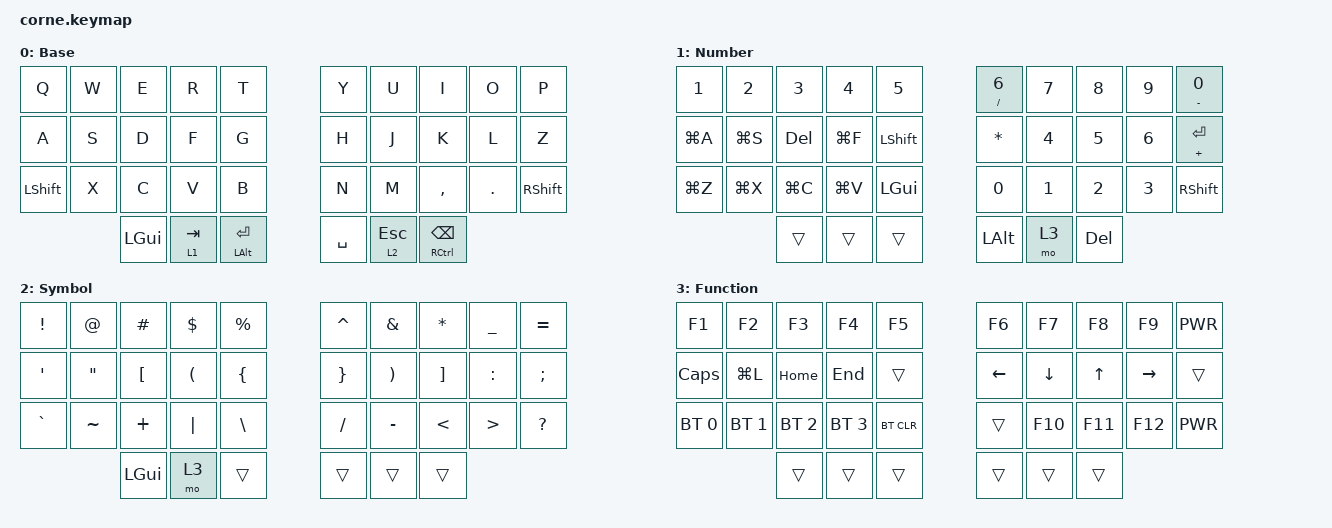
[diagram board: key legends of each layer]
/*
 * Copyright (c) 2020 The ZMK Contributors
 *
 * SPDX-License-Identifier: MIT
 */

#include <behaviors.dtsi>
#include <dt-bindings/zmk/keys.h>
#include <dt-bindings/zmk/bt.h>


/* #define AS(keycode) &as LS(keycode) keycode */

&lt {
    tapping-term-ms = <150>;
};

&mt {
    tapping-term-ms= <200>;
};

/ {
    chosen {
        zmk,physical-layout = &foostan_corne_5col_layout;
    };

    /* behaviors { */
    /*     as: auto_shift { */
    /*         compatible = "zmk,behavior-hold-tap"; */
    /*         #binding-cells = <2>; */
    /*         tapping_term_ms = <200>; */
    /*         quick_tap_ms = <0>; */
    /*         flavor = "tap-preferred"; */
    /*         bindings = <&kp>, <&kp>; */
    /*     }; */
    /* }; */
        keymap {
                compatible = "zmk,keymap";

                default_layer {
// -----------------------------------------------------------------------------------------
// |  Q  |  W  |  E  |  R  |  T  |     |  Y  |  U   |  I   |  O   | P |
// |  A  |  S  |  D  |  F  |  G  |     |  H  |  J   |  K   |  L   | ' |
// |  Z  |  X  |  C  |  V  |  B  |     |  N  |  M   | CTRL | META | . |
//             | GUI | LWR | SPC |     | ENT | RSE  | BSPC |
                        display-name = "Base";
                        bindings = <
   &kp Q      &kp W   &kp E     &kp R     &kp T           &kp Y       &kp U     &kp I       &kp O       &kp P
   &kp A      &kp S   &kp D     &kp F     &kp G           &kp H       &kp J     &kp K       &kp L       &kp Z
   &kp LSHFT  &kp X   &kp C     &kp V     &kp B           &kp N       &kp M     &kp COMMA   &kp DOT     &kp RSHFT
                      &kp LGUI  &lt 1 TAB &mt LALT RET    &kp SPACE   &lt 2 ESC &mt RCTL BSPC
                        >;
                };

                num_layer {
// -----------------------------------------------------------------------------------------
// | !     |  @  |  #  |  $  |  %  |     |  ^  |  &  |  *  |  (  |  )  |
// | BT1   | BT2 | BT3 | BT4 | BT5 |     | LFT | DWN |  UP | RGT |     |
// | BTCLR |     |     |     |     |     |     |     |     |     |     |
//               | GUI |     | SPC |     | ENT | ESC | TAB |
                        display-name = "Number";
                        bindings = <
   &kp N1       &kp N2      &kp N3    &kp N4      &kp N5          &mt FSLH N6 &kp N7    &kp N8    &kp N9   &mt MINUS N0
   &kp LG(A)    &kp LG(S)   &kp DEL   &kp LG(F)   &kp LSHFT       &kp STAR    &kp N4    &kp N5    &kp N6   &mt PLUS ENTER
   &kp LG(Z)    &kp LG(X)   &kp LG(C) &kp LG(V)   &kp LGUI        &kp N0      &kp N1    &kp N2    &kp N3   &kp RSHFT
                            &trans    &trans      &trans          &kp LALT    &mo 3     &kp DEL
                        >;
                };

                sym_layer {
// -----------------------------------------------------------------------------------------
// | 1! |  2@ |  3# |  4$ |  5% |     |  6^ |  7& |  8* |  9(  |  0)  |
// | -_ |  =+ |  {  |  [  |  (  |     |  )  |  ]  |  }  |  /?  |  \|  |
// | `~ |     |     |     |     |     |  ;  |  .> | CTRL| META |      |
//            | GUI | ESC | SPC |     | ENT |     | TAB |
                        display-name = "Symbol";
                        bindings = <
   &kp EXCL   &kp AT    &kp HASH    &kp DLLR    &kp PRCNT       &kp CARET   &kp AMPS  &kp STAR  &kp UNDER   &kp EQUAL
   &kp SQT    &kp DQT   &kp LBKT    &kp LPAR    &kp LBRC        &kp RBRC    &kp RPAR  &kp RBKT  &kp COLON   &kp SEMI
   &kp GRAVE  &kp TILDE &kp PLUS    &kp PIPE    &kp BSLH        &kp FSLH    &kp MINUS &kp LT    &kp GT      &kp QMARK
                        &kp LGUI    &mo 3       &trans          &trans      &trans    &trans
                        >;
                };

                fun_layer {
// -----------------------------------------------------------------------------------------
// | 1! |  2@ |  3# |  4$ |  5% |     |  6^ |  7& |  8* |  9(  |  0)  |
// | -_ |  =+ |  {  |  [  |  (  |     |  )  |  ]  |  }  |  /?  |  \|  |
// | `~ |     |     |     |     |     |  ;  |  .> | CTRL| META |      |
//            | GUI | ESC | SPC |     | ENT |     | TAB |
                        display-name = "Function";
                        bindings = <
   &kp F1       &kp F2          &kp F3        &kp F4        &kp F5        &kp F6    &kp F7    &kp F8  &kp F9     &kp C_PWR
   &kp CAPS     &kp LG(L)       &kp HOME      &kp END       &trans        &kp LEFT  &kp DOWN  &kp UP  &kp RIGHT  &trans
   &bt BT_SEL 0 &bt BT_SEL 1    &bt BT_SEL 2  &bt BT_SEL 3  &bt BT_CLR    &trans    &kp F10   &kp F11 &kp F12    &kp K_PWR
                                &trans        &trans        &trans        &trans    &trans    &trans
                        >;
                };

                extra_2 {
                        status = "reserved";
                };

                extra_3 {
                        status = "reserved";
                };
        };
};
